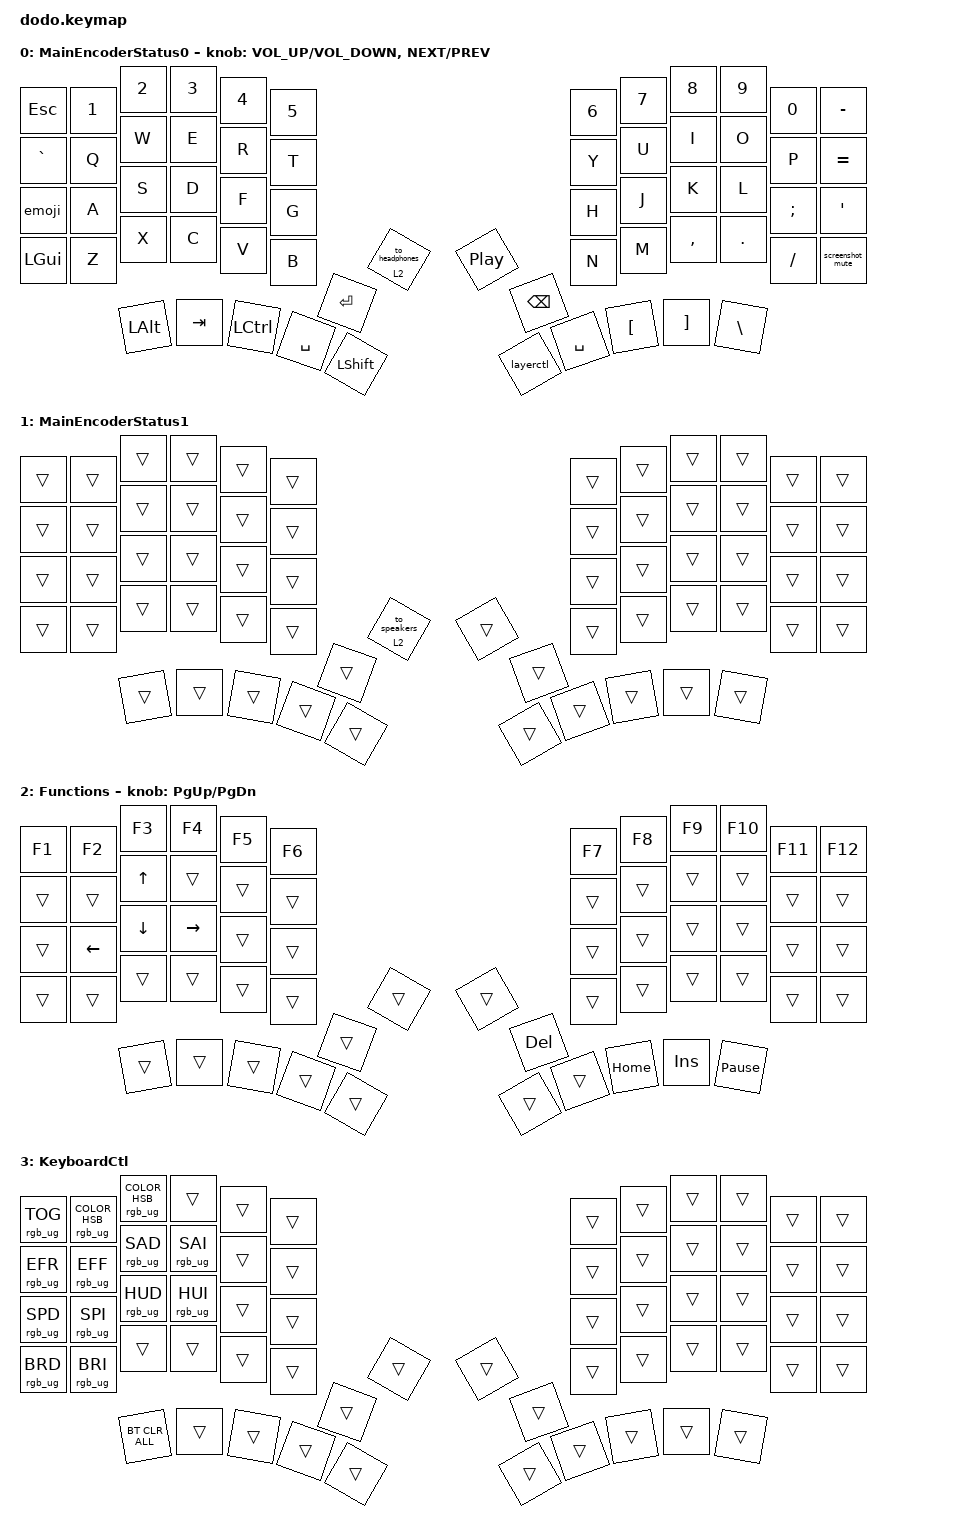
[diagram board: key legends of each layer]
#include <behaviors.dtsi>
#include <dt-bindings/zmk/bt.h>
#include <dt-bindings/zmk/keys.h>
#include <dt-bindings/zmk/rgb.h>

/ {
    behaviors {
        emoji: emoji {
            compatible = "zmk,behavior-tap-dance";
            label = "EMOJI";
            #binding-cells = <0>;
            bindings = <&surprised_emoji>, <&heart_emoji>, <&laf_emoji>;
        };

        layerctl: layerctl {
            compatible = "zmk,behavior-tap-dance";
            label = "LAYERCTL";
            #binding-cells = <0>;
            bindings = <&mo 2>, <&mo 3>;
        };

        h_headphones: h_headphones {
            compatible = "zmk,behavior-hold-tap";
            label = "H_HEADPHONES";
            bindings = <&mo>, <&to_headphones>;

            #binding-cells = <2>;
            tapping-term-ms = <200>;
            quick-tap-ms = <(-1)>;
            require-prior-idle-ms = <(-1)>;
            flavor = "tap-preferred";
        };

        h_speakers: h_speakers {
            compatible = "zmk,behavior-hold-tap";
            label = "H_SPEAKERS";
            bindings = <&mo>, <&to_speakers>;

            #binding-cells = <2>;
            tapping-term-ms = <200>;
            quick-tap-ms = <(-1)>;
            require-prior-idle-ms = <(-1)>;
            flavor = "tap-preferred";
        };

        screenshot_mute: screenshot_mute {
            compatible = "zmk,behavior-tap-dance";
            label = "SCREENSHOT_MUTE";
            #binding-cells = <0>;
            bindings = <&kp PRINTSCREEN>, <&kp PAUSE_BREAK>;
        };
    };

    macros {
        to_headphones: to_headphones {
            compatible = "zmk,behavior-macro";
            #binding-cells = <0>;
            bindings = <&kp LC(LA(F2)) &kp LA(F2) &to 1>;
            label = "TO_HEADPHONES";
        };

        to_speakers: to_speakers {
            compatible = "zmk,behavior-macro";
            #binding-cells = <0>;
            bindings = <&kp LA(LC(F1)) &kp LA(F1) &to 0>;
            label = "TO_SPEAKERS";
        };

        surprised_emoji: surprised_emoji {
            compatible = "zmk,behavior-macro";
            #binding-cells = <0>;
            bindings = <&kp COLON &kp N &kp Y &kp A &kp UNDER &kp A &kp COLON>;
            label = "SURPRISED_EMOJI";
        };

        heart_emoji: heart_emoji {
            compatible = "zmk,behavior-macro";
            #binding-cells = <0>;
            bindings = <&kp COLON &kp LS(H) &kp E &kp A &kp R &kp T &kp COLON>;
            label = "HEART_EMOJI";
        };

        laf_emoji: laf_emoji {
            compatible = "zmk,behavior-macro";
            #binding-cells = <0>;
            bindings = <&none &kp COLON &kp R &kp E &kp Y &kp K &kp L &kp A &kp F &kp COLON>;
            label = "LAF_EMOJI";
        };
    };

    keymap {
        compatible = "zmk,keymap";

        MainEncoderStatus0 {
            bindings = <
&kp ESC    &kp N1  &kp N2    &kp N3   &kp N4     &kp N5                                          &kp N6     &kp N7            &kp N8             &kp N9         &kp N0    &kp MINUS
&kp GRAVE  &kp Q   &kp W     &kp E    &kp R      &kp T                                           &kp Y      &kp U             &kp I              &kp O          &kp P     &kp EQUAL
&emoji     &kp A   &kp S     &kp D    &kp F      &kp G                                           &kp H      &kp J             &kp K              &kp L          &kp SEMI  &kp SQT
&kp LGUI   &kp Z   &kp X     &kp C    &kp V      &kp B      &kp ENTER          &kp BACKSPACE     &kp N      &kp M             &kp COMMA          &kp DOT        &kp FSLH  &screenshot_mute
                   &kp LALT  &kp TAB  &kp LCTRL  &kp SPACE  &kp LSHFT          &layerctl         &kp SPACE  &kp LEFT_BRACKET  &kp RIGHT_BRACKET  &kp BACKSLASH
                                                            &h_headphones 2 0  &kp C_PLAY_PAUSE
            >;

            sensor-bindings =
                <&inc_dec_kp C_VOLUME_UP C_VOLUME_DOWN>,
                <&inc_dec_kp C_NEXT C_PREV>;
        };

        MainEncoderStatus1 {
            bindings = <
&trans  &trans  &trans  &trans  &trans  &trans                           &trans  &trans  &trans  &trans  &trans  &trans
&trans  &trans  &trans  &trans  &trans  &trans                           &trans  &trans  &trans  &trans  &trans  &trans
&trans  &trans  &trans  &trans  &trans  &trans                           &trans  &trans  &trans  &trans  &trans  &trans
&trans  &trans  &trans  &trans  &trans  &trans  &trans           &trans  &trans  &trans  &trans  &trans  &trans  &trans
                &trans  &trans  &trans  &trans  &trans           &trans  &trans  &trans  &trans  &trans
                                                &h_speakers 2 0  &trans
            >;
        };

        Functions {
            bindings = <
&kp F1  &kp F2    &kp F3          &kp F4     &kp F5  &kp F6                   &kp F7  &kp F8    &kp F9   &kp F10          &kp F11  &kp F12
&trans  &trans    &kp UP_ARROW    &trans     &trans  &trans                   &trans  &trans    &trans   &trans           &trans   &trans
&trans  &kp LEFT  &kp DOWN_ARROW  &kp RIGHT  &trans  &trans                   &trans  &trans    &trans   &trans           &trans   &trans
&trans  &trans    &trans          &trans     &trans  &trans  &trans  &kp DEL  &trans  &trans    &trans   &trans           &trans   &trans
                  &trans          &trans     &trans  &trans  &trans  &trans   &trans  &kp HOME  &kp INS  &kp PAUSE_BREAK
                                                             &trans  &trans
            >;

            sensor-bindings = <&inc_dec_kp PAGE_UP PAGE_DOWN>;
        };

        KeyboardCtl {
            bindings = <
&rgb_ug RGB_TOG  &rgb_ug RGB_COLOR_HSB(0,0,100)  &rgb_ug RGB_COLOR_HSB(320,93,49)  &trans           &trans  &trans                  &trans  &trans  &trans  &trans  &trans  &trans
&rgb_ug RGB_EFR  &rgb_ug RGB_EFF                 &rgb_ug RGB_SAD                   &rgb_ug RGB_SAI  &trans  &trans                  &trans  &trans  &trans  &trans  &trans  &trans
&rgb_ug RGB_SPD  &rgb_ug RGB_SPI                 &rgb_ug RGB_HUD                   &rgb_ug RGB_HUI  &trans  &trans                  &trans  &trans  &trans  &trans  &trans  &trans
&rgb_ug RGB_BRD  &rgb_ug RGB_BRI                 &trans                            &trans           &trans  &trans  &trans  &trans  &trans  &trans  &trans  &trans  &trans  &trans
                                                 &bt BT_CLR_ALL                    &trans           &trans  &trans  &trans  &trans  &trans  &trans  &trans  &trans
                                                                                                                    &trans  &trans
            >;
        };
    };
};
